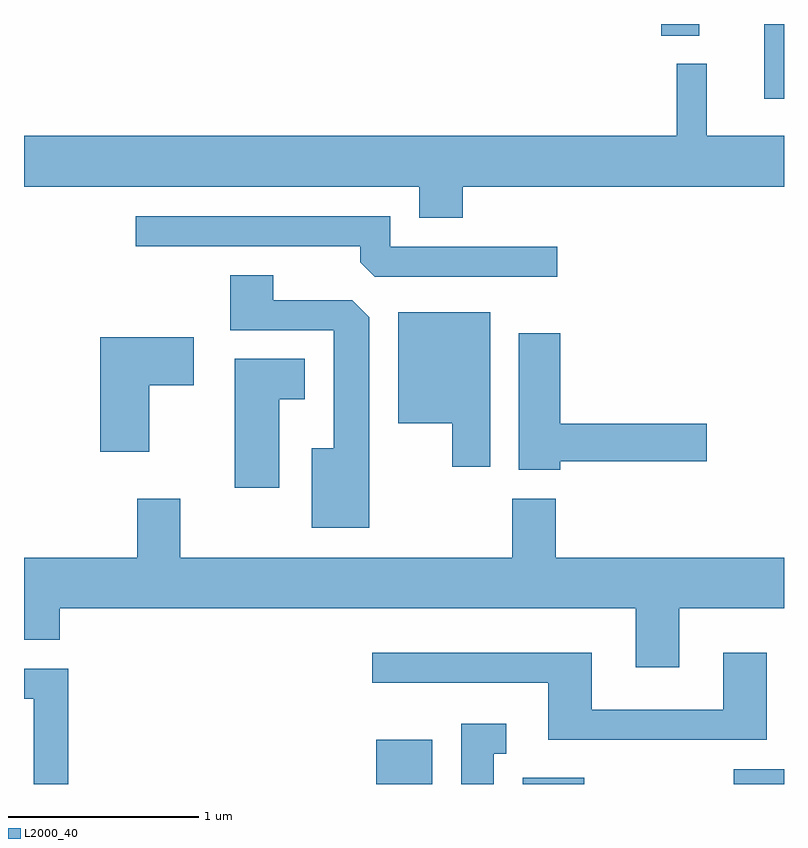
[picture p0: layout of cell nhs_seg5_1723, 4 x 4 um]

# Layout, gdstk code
import gdstk
lib = gdstk.Library(unit=1e-6, precision=1e-09)
def R(c, l, rs):  # rectangles x0, y0, x1, y1
    for r in rs: c.add(gdstk.rectangle(r[:2], r[2:], *l))
def P(c, l, *ps):  # polygons
    for p in ps: c.add(gdstk.Polygon(p, *l))
L2000_40 = (2000, 40)

nhs_seg5_1723 = lib.new_cell('nhs_seg5_1723')
R(nhs_seg5_1723, L2000_40, [(237.466,1478.072,237.759,1478.304), (238.236,1478.072,238.559,1478.104), (239.346,1478.072,239.611,1478.149), (239.506,1481.678,239.611,1482.072), (238.966,1482.011,239.164,1482.072)])
P(nhs_seg5_1723, L2000_40, [(237.919,1481.216),(239.611,1481.216),(239.611,1481.484),(239.204,1481.484),(239.204,1481.863),(239.046,1481.863),(239.046,1481.484),(235.611,1481.484),(235.611,1481.216),(237.691,1481.216),(237.691,1481.051),(237.919,1481.051)],
  [(238.418,1480.899),(237.539,1480.899),(237.539,1481.059),(236.198,1481.059),(236.198,1480.901),(237.381,1480.901),(237.381,1480.817),(237.457,1480.741),(238.418,1480.741)],
  [(237.429,1480.529),(237.339,1480.619),(236.924,1480.619),(236.924,1480.749),(236.696,1480.749),(236.696,1480.461),(237.241,1480.461),(237.241,1479.839),(237.126,1479.839),(237.126,1479.421),(237.429,1479.421)],
  [(238.064,1480.554),(237.581,1480.554),(237.581,1479.971),(237.866,1479.971),(237.866,1479.741),(238.064,1479.741)],
  [(238.434,1479.771),(239.204,1479.771),(239.204,1479.969),(238.434,1479.969),(238.434,1480.444),(238.216,1480.444),(238.216,1479.726),(238.434,1479.726)],
  [(236.269,1480.171),(236.504,1480.171),(236.504,1480.424),(236.011,1480.424),(236.011,1479.821),(236.269,1479.821)],
  [(236.954,1480.096),(237.089,1480.096),(237.089,1480.309),(236.721,1480.309),(236.721,1479.631),(236.954,1479.631)],
  [(239.059,1478.996),(239.611,1478.996),(239.611,1479.264),(238.409,1479.264),(238.409,1479.574),(238.181,1479.574),(238.181,1479.264),(236.434,1479.264),(236.434,1479.574),(236.206,1479.574),(236.206,1479.264),(235.611,1479.264),(235.611,1478.831),(235.799,1478.831),(235.799,1478.996),(238.831,1478.996),(238.831,1478.686),(239.059,1478.686)],
  [(239.519,1478.764),(239.291,1478.764),(239.291,1478.464),(238.599,1478.464),(238.599,1478.764),(237.443,1478.764),(237.443,1478.606),(238.371,1478.606),(238.371,1478.306),(239.519,1478.306)],
  [(235.844,1478.679),(235.611,1478.679),(235.611,1478.521),(235.661,1478.521),(235.661,1478.072),(235.844,1478.072)],
  [(238.084,1478.231),(238.148,1478.231),(238.148,1478.389),(237.911,1478.389),(237.911,1478.072),(238.084,1478.072)])

lib.write_gds('nhs_seg5_1723.gds')
